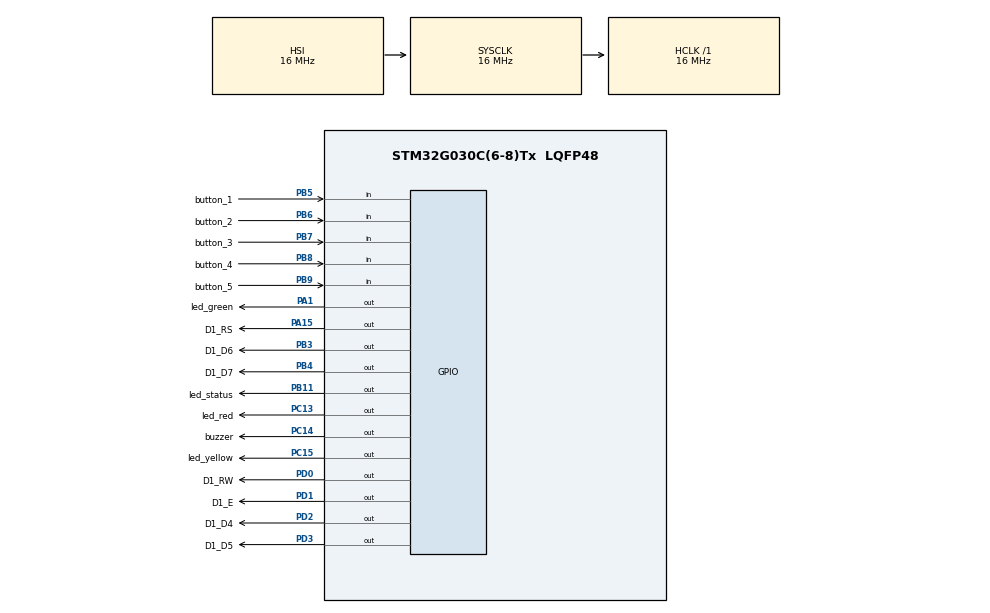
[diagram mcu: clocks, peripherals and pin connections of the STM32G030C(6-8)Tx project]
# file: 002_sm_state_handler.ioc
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Mcu.Family=STM32G0
Mcu.Name=STM32G030C(6-8)Tx
Mcu.Package=LQFP48
PA1.GPIO_Label=led_green
PA1.Signal=GPIO_Output
PA13.Mode=Serial_Wire
PA13.Signal=SYS_SWDIO
PA14-BOOT0.Mode=Serial_Wire
PA14-BOOT0.Signal=SYS_SWCLK
PA15.GPIO_Label=D1_RS
PA15.Signal=GPIO_Output
PB11.GPIO_Label=led_status
PB11.Signal=GPIO_Output
PB3.GPIO_Label=D1_D6
PB3.Signal=GPIO_Output
PB4.GPIO_Label=D1_D7
PB4.Signal=GPIO_Output
PB5.GPIO_Label=button_1
PB5.GPIO_PuPd=GPIO_NOPULL
PB5.Signal=GPIO_Input
PB6.GPIO_Label=button_2
PB6.GPIO_PuPd=GPIO_NOPULL
PB6.Signal=GPIO_Input
PB7.GPIO_Label=button_3
PB7.GPIO_PuPd=GPIO_NOPULL
PB7.Signal=GPIO_Input
PB8.GPIO_Label=button_4
PB8.GPIO_PuPd=GPIO_NOPULL
PB8.Signal=GPIO_Input
PB9.GPIO_Label=button_5
PB9.GPIO_PuPd=GPIO_NOPULL
PB9.Signal=GPIO_Input
PC13.GPIO_Label=led_red
PC13.Signal=GPIO_Output
PC14-OSC32_IN\ (PC14).GPIO_Label=buzzer
PC14-OSC32_IN\ (PC14).Signal=GPIO_Output
PC15-OSC32_OUT\ (PC15).GPIO_Label=led_yellow
PC15-OSC32_OUT\ (PC15).Signal=GPIO_Output
PD0.GPIO_Label=D1_RW
PD0.Signal=GPIO_Output
PD1.GPIO_Label=D1_E
PD1.Signal=GPIO_Output
PD2.GPIO_Label=D1_D4
PD2.Signal=GPIO_Output
PD3.GPIO_Label=D1_D5
PD3.Signal=GPIO_Output
ProjectManager.HeapSize=0x200
ProjectManager.StackSize=0x400
ProjectManager.TargetToolchain=STM32CubeIDE
RCC.AHBFreq_Value=16000000
RCC.CortexFreq_Value=16000000
RCC.EXTERNAL_CLOCK_VALUE=12288000
RCC.HCLKFreq_Value=16000000
RCC.HSE_VALUE=8000000
RCC.HSI_VALUE=16000000
RCC.LSE_VALUE=32768
RCC.SYSCLKFreq_VALUE=16000000
RCC.VCOOutputFreq_Value=128000000
board=custom

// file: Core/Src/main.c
/* USER CODE BEGIN Header */
/**
  ******************************************************************************
  * @file           : main.c
  * @brief          : Main program body
  ******************************************************************************
  * @attention
  *
  * Copyright (c) 2023 STMicroelectronics.
  * All rights reserved.
  *
  * This software is licensed under terms that can be found in the LICENSE file
  * in the root directory of this software component.
  * If no LICENSE file comes with this software, it is provided AS-IS.
  *
  ******************************************************************************
  */
/* USER CODE END Header */
#include "main.h"

/* USER CODE BEGIN Includes */
#include "lcd.h"
#include "led.h"
#include "state_machine.h"
/* USER CODE END Includes */

/* USER CODE BEGIN PV */
lcd_t lcd_1;//create the lcd_1 global varaible
/* USER CODE END PV */

void SystemClock_Config(void);
static void MX_GPIO_Init(void);

int main(void)
{

  /* MCU Configuration--------------------------------------------------------*/

  /* Reset of all peripherals, Initializes the Flash interface and the Systick. */
  HAL_Init();

  /* Configure the system clock */
  SystemClock_Config();

  /* Initialize all configured peripherals */
  MX_GPIO_Init();
  /* USER CODE BEGIN 2 */
  led_all_on();

  //create the lcd object for 4 bits  and 16x2 mode
   lcd_1= lcd_create_4_bit(D1_RS_GPIO_Port, D1_RW_GPIO_Port, D1_E_GPIO_Port,
  								D1_RS_Pin, D1_RW_Pin, D1_E_Pin,
  								D1_D7_GPIO_Port, D1_D6_GPIO_Port, D1_D5_GPIO_Port, D1_D4_GPIO_Port,
  								D1_D7_Pin,D1_D6_Pin, D1_D5_Pin,D1_D4_Pin,lcd_chr_16x2_mode);
  lcd_clear(&lcd_1);//clear display
  lcd_set_cursor(&lcd_1, 0, 0);
  lcd_print_string(&lcd_1, "STATE MACHINE");
  lcd_set_cursor(&lcd_1, 1, 0);
  lcd_print_string(&lcd_1, "STATE HANDLER");
  uint8_t counter=0;//var to show counter in lcd
  HAL_Delay(500);
  lcd_clear(&lcd_1);//clear lcd
  protimer_t  protimer;
  event_t  event;
  uint8_t  btn_pad_value=button_not_pressed;
  protimer_init(&protimer);
  HAL_Delay(500);
  /* USER CODE END 2 */

  /* Infinite loop */
  while (1)
  {

    /* USER CODE BEGIN 3 */

	  protimer_user_event_t ue;
	//1. READ BUTTON STATUS
	//2. MAKE AN EVENT
	//3. SEND IT FOR EVENT DISPATCHER
	//4. DISPATCH THE TIME TICK FOR WCVER 100 ms

	//1. READ BUTTON STATUS
	  btn_pad_value=button_read();

	//2. MAKE AN EVENT

		  if(btn_pad_value){
		     if(btn_pad_value == button_inc_time){
		       ue.super.sig = INC_TIME;
		     }else if(btn_pad_value == button_dec_time){
		       ue.super.sig = DEC_TIME;
		     }else if(btn_pad_value == button_start_pause){
		       ue.super.sig = START_PAUSE;
		     }else if(btn_pad_value == button_abrt){
		       ue.super.sig = ABRT;
		     }
		     protimer_event_dispatcher(&protimer, &ue.super);//only execute the event dispatcher for user events if have valid button key
		  }

	//3. SEND IT FOR EVENT DISPATCHER

	//4. DISPATCH THE TIME TICK FOR WCVER 100 ms
		 protimer_tick_event_dispatcher(&protimer, &event);

		  char buffer[20];
	  sprintf(buffer,"%03d",ue.super.sig);//  btn_pad_value
		  lcd_set_cursor(&lcd_1, 1, 13);
		  lcd_print_string(&lcd_1,buffer );

		  /* if(ue.super.sig == INC_TIME)
		  	  {

		  		  display_message(&lcd_1, "INC TIME           ", 0, 0);
		  	  }

		  	  if(ue.super.sig == DEC_TIME)
		  	  {

		  		  display_message(&lcd_1, "DEC TIME           ", 0, 0);
		  	  }

		  	  if(ue.super.sig == START_PAUSE)
		  	  {

		  		  display_message(&lcd_1, "START PAUSE         ", 0, 0);
		  	  }

		  	  if(ue.super.sig == ABRT)
		  	  {

		  		  display_message(&lcd_1, "ABRT                 ", 0, 0);
		  	  }*/

  }
  /* USER CODE END 3 */
}

void SystemClock_Config(void)
{
  RCC_OscInitTypeDef RCC_OscInitStruct = {0};
  RCC_ClkInitTypeDef RCC_ClkInitStruct = {0};

  /** Configure the main internal regulator output voltage
  */
  HAL_PWREx_ControlVoltageScaling(PWR_REGULATOR_VOLTAGE_SCALE1);

  /** Initializes the RCC Oscillators according to the specified parameters
  * in the RCC_OscInitTypeDef structure.
  */
  RCC_OscInitStruct.OscillatorType = RCC_OSCILLATORTYPE_HSI;
  RCC_OscInitStruct.HSIState = RCC_HSI_ON;
  RCC_OscInitStruct.HSIDiv = RCC_HSI_DIV1;
  RCC_OscInitStruct.HSICalibrationValue = RCC_HSICALIBRATION_DEFAULT;
  RCC_OscInitStruct.PLL.PLLState = RCC_PLL_NONE;
  if (HAL_RCC_OscConfig(&RCC_OscInitStruct) != HAL_OK)
  {
    Error_Handler();
  }

  /** Initializes the CPU, AHB and APB buses clocks
  */
  RCC_ClkInitStruct.ClockType = RCC_CLOCKTYPE_HCLK|RCC_CLOCKTYPE_SYSCLK
                              |RCC_CLOCKTYPE_PCLK1;
  RCC_ClkInitStruct.SYSCLKSource = RCC_SYSCLKSOURCE_HSI;
  RCC_ClkInitStruct.AHBCLKDivider = RCC_SYSCLK_DIV1;
  RCC_ClkInitStruct.APB1CLKDivider = RCC_HCLK_DIV1;

  if (HAL_RCC_ClockConfig(&RCC_ClkInitStruct, FLASH_LATENCY_0) != HAL_OK)
  {
    Error_Handler();
  }
}

static void MX_GPIO_Init(void)
{
  GPIO_InitTypeDef GPIO_InitStruct = {0};

  /* GPIO Ports Clock Enable */
  __HAL_RCC_GPIOC_CLK_ENABLE();
  __HAL_RCC_GPIOA_CLK_ENABLE();
  __HAL_RCC_GPIOB_CLK_ENABLE();
  __HAL_RCC_GPIOD_CLK_ENABLE();

  /*Configure GPIO pin Output Level */
  HAL_GPIO_WritePin(GPIOC, led_red_Pin|buzzer_Pin|led_yellow_Pin, GPIO_PIN_RESET);

  /*Configure GPIO pin Output Level */
  HAL_GPIO_WritePin(GPIOA, led_green_Pin|D1_RS_Pin, GPIO_PIN_RESET);

  /*Configure GPIO pin Output Level */
  HAL_GPIO_WritePin(GPIOB, led_status_Pin|D1_D6_Pin|D1_D7_Pin, GPIO_PIN_RESET);

  /*Configure GPIO pin Output Level */
  HAL_GPIO_WritePin(GPIOD, D1_RW_Pin|D1_E_Pin|D1_D4_Pin|D1_D5_Pin, GPIO_PIN_RESET);

  /*Configure GPIO pins : led_red_Pin buzzer_Pin led_yellow_Pin */
  GPIO_InitStruct.Pin = led_red_Pin|buzzer_Pin|led_yellow_Pin;
  GPIO_InitStruct.Mode = GPIO_MODE_OUTPUT_PP;
  GPIO_InitStruct.Pull = GPIO_NOPULL;
  GPIO_InitStruct.Speed = GPIO_SPEED_FREQ_LOW;
  HAL_GPIO_Init(GPIOC, &GPIO_InitStruct);

  /*Configure GPIO pins : led_green_Pin D1_RS_Pin */
  GPIO_InitStruct.Pin = led_green_Pin|D1_RS_Pin;
  GPIO_InitStruct.Mode = GPIO_MODE_OUTPUT_PP;
  GPIO_InitStruct.Pull = GPIO_NOPULL;
  GPIO_InitStruct.Speed = GPIO_SPEED_FREQ_LOW;
  HAL_GPIO_Init(GPIOA, &GPIO_InitStruct);

  /*Configure GPIO pins : led_status_Pin D1_D6_Pin D1_D7_Pin */
  GPIO_InitStruct.Pin = led_status_Pin|D1_D6_Pin|D1_D7_Pin;
  GPIO_InitStruct.Mode = GPIO_MODE_OUTPUT_PP;
  GPIO_InitStruct.Pull = GPIO_NOPULL;
  GPIO_InitStruct.Speed = GPIO_SPEED_FREQ_LOW;
  HAL_GPIO_Init(GPIOB, &GPIO_InitStruct);

  /*Configure GPIO pins : D1_RW_Pin D1_E_Pin D1_D4_Pin D1_D5_Pin */
  GPIO_InitStruct.Pin = D1_RW_Pin|D1_E_Pin|D1_D4_Pin|D1_D5_Pin;
  GPIO_InitStruct.Mode = GPIO_MODE_OUTPUT_PP;
  GPIO_InitStruct.Pull = GPIO_NOPULL;
  GPIO_InitStruct.Speed = GPIO_SPEED_FREQ_LOW;
  HAL_GPIO_Init(GPIOD, &GPIO_InitStruct);

  /*Configure GPIO pins : button_1_Pin button_2_Pin button_3_Pin button_4_Pin
                           button_5_Pin */
  GPIO_InitStruct.Pin = button_1_Pin|button_2_Pin|button_3_Pin|button_4_Pin
                          |button_5_Pin;
  GPIO_InitStruct.Mode = GPIO_MODE_INPUT;
  GPIO_InitStruct.Pull = GPIO_NOPULL;
  HAL_GPIO_Init(GPIOB, &GPIO_InitStruct);

}

void Error_Handler(void)
{
  __disable_irq();
  while (1)
  {
  }
}
